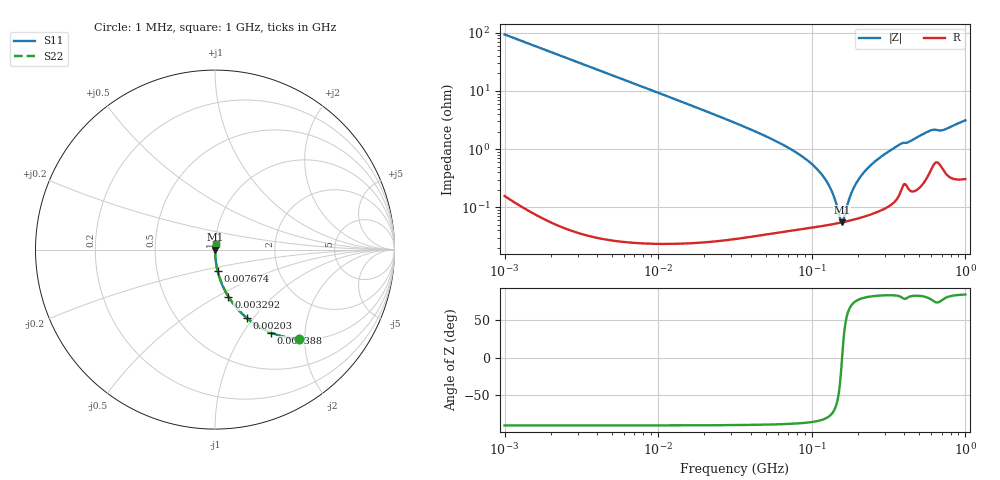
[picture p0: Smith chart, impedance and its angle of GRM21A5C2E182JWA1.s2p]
!Murata Part Number: GRM21A5C2E182JWA1
!These Parameters are Measured in Series Mode Connection
!Data Generated on Mar 30, 2021
!  o--ll--o
!Port1  Port2
!  o------o
!Operation Temp=25[degC], DC Bias Voltage=0[V]
!Freq. Start=1000[kHz] Stop=1000[MHz] 401[Steps]
# Hz S RI R 50
!Freq.(Hz) S11(Real) S11(Imag) S21(Real) S21(Imag) S12(Real) S12(Imag) S22(Real) S22(Imag)
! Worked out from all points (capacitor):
!   401 points, 1 MHz to 1 GHz, reference 50 ohm
!   read as one part in series: C = 1.7 nF near 1.035 MHz
!   lowest |Z| = 55.3 mohm at 157.6 MHz (marker M1)
!   series resonance near 157.4 MHz, so ESL is about 600 pH
!   S11 on the Smith chart (normalised r, x): 1 MHz: 1.00, -1.87; 1.388 MHz: 1.00, -1.35; 2.03 MHz: 1.00, -0.92; 3.292 MHz: 1.00, -0.57; 7.674 MHz: 1.00, -0.24; 1 GHz: 1.01, +0.06
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1000000  0.4672 -0.4981  0.5328 0.4981  0.5328 0.4981  0.4672 -0.4981
1388353  0.3129 -0.463  0.6871 0.463  0.6871 0.463  0.3129 -0.463
2030019  0.1757 -0.38  0.8243 0.38  0.8243 0.38  0.1757 -0.38
3180534  0.08 -0.2707  0.92 0.2707  0.92 0.2707  0.08 -0.2707
3292305  0.075 -0.2629  0.925 0.2629  0.925 0.2629  0.075 -0.2629
7673615  0.0148 -0.1199  0.9852 0.1199  0.9852 0.1199  0.0148 -0.1199
1.01158e7  0.00865 -0.0913  0.9914 0.0913  0.9914 0.0913  0.00865 -0.0913
3.162278e7  0.00109 -0.0283  0.9989 0.0283  0.9989 0.0283  0.00109 -0.0283
6.531306e7  0.000517 -0.0118  0.9995 0.0118  0.9995 0.0118  0.000517 -0.0118
1.005773e8  0.000478 -0.00546  0.9995 0.00546  0.9995 0.00546  0.000478 -0.00546
1.280855e8  0.000503 -0.00245  0.9995 0.00245  0.9995 0.00245  0.000503 -0.00245
1.396368e8  0.00052 -0.00142  0.9995 0.00142  0.9995 0.00142  0.00052 -0.00142
1.522299e8  0.000542 -0.000394  0.9995 0.000394  0.9995 0.000394  0.000542 -0.000394
1.575796e8  0.000552 1.29e-05  0.9994 -1.29e-05  0.9994 -1.29e-05  0.000552 1.29e-05
1.631173e8  0.000563 0.00042  0.9994 -0.00042  0.9994 -0.00042  0.000563 0.00042
1.809256e8  0.000603 0.00165  0.9994 -0.00165  0.9994 -0.00165  0.000603 0.00165
2.041738e8  0.000663 0.0031  0.9993 -0.0031  0.9993 -0.0031  0.000663 0.0031
2.46888e8  0.000798 0.0055  0.9992 -0.0055  0.9992 -0.0055  0.000798 0.0055
3.198895e8  0.00114 0.00921  0.9989 -0.00921  0.9989 -0.00921  0.00114 0.00921
5.854637e8  0.00435 0.0202  0.9957 -0.0202  0.9957 -0.0202  0.00435 0.0202
7.202778e8  0.00473 0.0208  0.9953 -0.0208  0.9953 -0.0208  0.00473 0.0208
1e9  0.00402 0.031  0.996 -0.031  0.996 -0.031  0.00402 0.031
